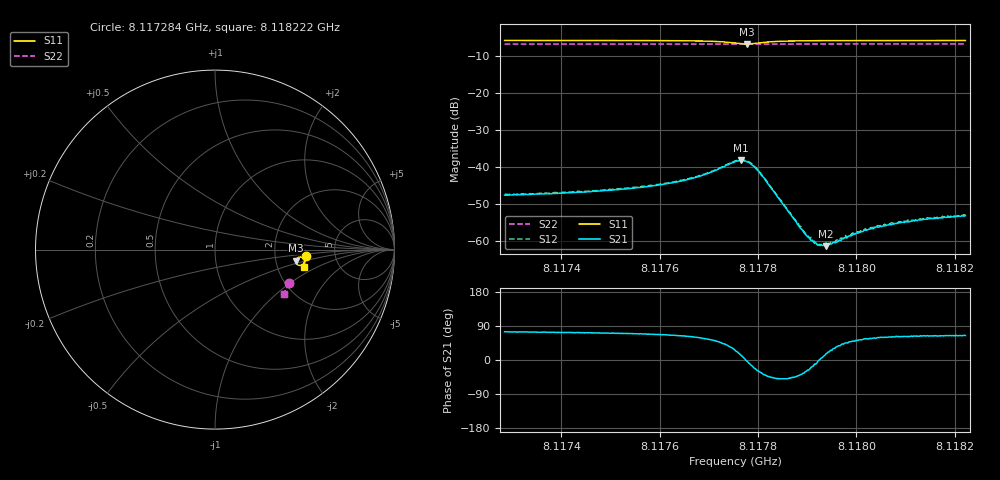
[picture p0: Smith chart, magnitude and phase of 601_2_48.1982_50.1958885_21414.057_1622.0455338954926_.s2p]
#  HZ  S  RI  R  50.00
! Rohde & Schwarz Vector Network Analyzer
! Rohde-Schwarz,ZNB20-2Port,1311601062101988,3.16
! Created: UTC 3/20/2024, 12:03:00 PM
! freq[Hz]  re:S11  im:S11  re:S21  im:S21  re:S12  im:S12  re:S22  im:S22
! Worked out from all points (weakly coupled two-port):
!   401 points, 8.117284 GHz to 8.118222 GHz, reference 50 ohm
!   highest |S21| = -38.30 dB at 8.117765 GHz (marker M1); lowest = -61.5 dB at 8.117938 GHz (marker M2)
!   lowest |S11| = -6.9 dB at 8.117777 GHz (marker M3), VSWR 2.66, Z = 130 - j20.2 ohm
!   |S11| at or under -10 dB: nowhere
!   |S22| runs from -6.9 to -6.8 dB; largest |S21 - S12| = 0.0005
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8.1172844e9  0.5051 -0.0372  0.00109 0.00398  0.00115 0.00404  0.4117 -0.1872
8.1174414e9  0.5033 -0.051  0.00141 0.0043  0.00142 0.00442  0.4073 -0.1974
8.1175352e9  0.5015 -0.0602  0.00173 0.00476  0.00181 0.0048  0.4046 -0.2035
8.1175984e9  0.4993 -0.0674  0.00217 0.0052  0.00227 0.00531  0.4027 -0.2077
8.1176313e9  0.4975 -0.0717  0.00262 0.00557  0.00269 0.00563  0.4016 -0.2097
8.1176781e9  0.4924 -0.0794  0.00373 0.00629  0.00385 0.00643  0.3999 -0.2129
8.1177086e9  0.4854 -0.085  0.00531 0.00685  0.00541 0.00691  0.3986 -0.2148
8.1177531e9  0.46 -0.0841  0.0105 0.00512  0.0108 0.00519  0.3962 -0.2171
8.1177649e9  0.4522 -0.0751  0.0119 0.00271  0.012 0.00281  0.3956 -0.2173
8.1177766e9  0.45 -0.0618  0.0117 -0.000486  0.012 -0.000296  0.3953 -0.2172
8.1177906e9  0.4575 -0.0474  0.00957 -0.00339  0.00983 -0.00346  0.3956 -0.2176
8.117807e9  0.4718 -0.0414  0.00631 -0.00427  0.00643 -0.0046  0.3957 -0.2185
8.1178844e9  0.497 -0.0589  0.00117 -0.000988  0.00121 -0.001  0.3943 -0.2242
8.1178961e9  0.4978 -0.0613  0.00105 -0.000634  0.00109 -0.000651  0.3938 -0.2251
8.1179102e9  0.4984 -0.0639  0.00095 -0.000296  0.000965 -0.000321  0.3936 -0.2261
8.1179219e9  0.4986 -0.0657  0.000866 -4.37e-05  0.000872 -6.24e-05  0.3931 -0.2268
8.1179383e9  0.499 -0.0684  0.00081 0.000234  0.000909 0.000229  0.3926 -0.2277
8.1179946e9  0.4992 -0.0757  0.000782 0.000939  0.000836 0.000945  0.3906 -0.2315
8.1180203e9  0.499 -0.0785  0.000771 0.00115  0.00082 0.00113  0.3898 -0.2331
8.1180672e9  0.4986 -0.0832  0.000799 0.00144  0.000814 0.00148  0.3883 -0.236
8.1181446e9  0.4974 -0.0905  0.000844 0.00177  0.000963 0.0018  0.3854 -0.2409
8.1182219e9  0.4964 -0.0971  0.000937 0.00197  0.000938 0.00197  0.3827 -0.2455
